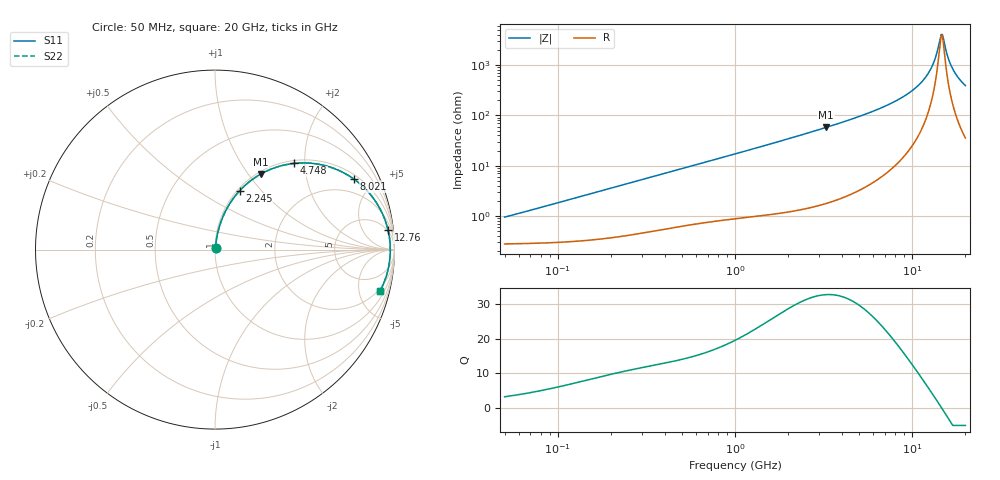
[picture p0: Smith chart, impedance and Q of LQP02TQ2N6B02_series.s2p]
!Murata Part Number: LQP02TQ2N6B02
!These Parameters are Measured in Series Mode Connection
!  o--[Z]--o
!Port1  Port2
!  o-------o
!Freq. Start=50[MHz] Stop=20[GHz], 401[Steps]
# Hz S RI R 50
!Freq.(Hz) S11(Real) S11(Imag) S21(Real) S21(Imag) S12(Real) S12(Imag) S22(Real) S22(Imag)
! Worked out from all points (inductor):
!   401 points, 50 MHz to 20 GHz, reference 50 ohm
!   read as one part in series: L = 2.87 nH near 51.52 MHz
!   highest Q = 32.7 at 3.265 GHz (marker M1), where L = 2.8 nH
!   self-resonance near 14.6 GHz
!   S11 on the Smith chart (normalised r, x): 50 MHz: 1.01, +0.02; 2.245 GHz: 1.03, +0.77; 4.748 GHz: 1.06, +1.77; 8.021 GHz: 1.20, +3.81; 12.76 GHz: 4, +17; 20 GHz: 1.71, -7.81
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5e7  0.00284 0.00898  0.9972 -0.00898  0.9972 -0.00898  0.00284 0.00898
1.364002e8  0.00377 0.0243  0.9962 -0.0243  0.9962 -0.0243  0.00377 0.0243
3.721004e8  0.00935 0.0645  0.9906 -0.0645  0.9906 -0.0645  0.00935 0.0645
1e9  0.0363 0.163  0.9637 -0.163  0.9637 -0.163  0.0363 0.163
2.245319e9  0.1378 0.3284  0.8622 -0.3284  0.8622 -0.3284  0.1378 0.3284
2.728004e9  0.1908 0.3776  0.8092 -0.3776  0.8092 -0.3776  0.1908 0.3776
3.265178e9  0.2552 0.4209  0.7448 -0.4209  0.7448 -0.4209  0.2552 0.4209
4.748272e9  0.4422 0.4805  0.5578 -0.4805  0.5578 -0.4805  0.4422 0.4805
5.944466e9  0.5824 0.4747  0.4176 -0.4747  0.4176 -0.4747  0.5824 0.4747
7.442007e9  0.7271 0.4224  0.2729 -0.4224  0.2729 -0.4224  0.7271 0.4224
8.020766e9  0.7727 0.3937  0.2273 -0.3937  0.2273 -0.3937  0.7727 0.3937
1.066139e10  0.9139 0.2371  0.0861 -0.2371  0.0861 -0.2371  0.9139 0.2371
1.183995e10  0.9475 0.1643  0.0525 -0.1643  0.0525 -0.1643  0.9475 0.1643
1.276073e10  0.964 0.1089  0.036 -0.1089  0.036 -0.1089  0.964 0.1089
1.354865e10  0.9724 0.0634  0.0276 -0.0634  0.0276 -0.0634  0.9724 0.0634
1.438523e10  0.9764 0.0171  0.0236 -0.0171  0.0236 -0.0171  0.9764 0.0171
1.482269e10  0.9768 -0.00611  0.0232 0.00611  0.0232 0.00611  0.9768 -0.00611
1.504638e10  0.9765 -0.0177  0.0235 0.0177  0.0235 0.0177  0.9765 -0.0177
1.621653e10  0.9712 -0.0755  0.0288 0.0755  0.0288 0.0755  0.9712 -0.0755
1.696185e10  0.9647 -0.1097  0.0353 0.1097  0.0353 0.1097  0.9647 -0.1097
1.828096e10  0.9485 -0.1653  0.0515 0.1653  0.0515 0.1653  0.9485 -0.1653
2e10  0.9207 -0.2285  0.0793 0.2285  0.0793 0.2285  0.9207 -0.2285
